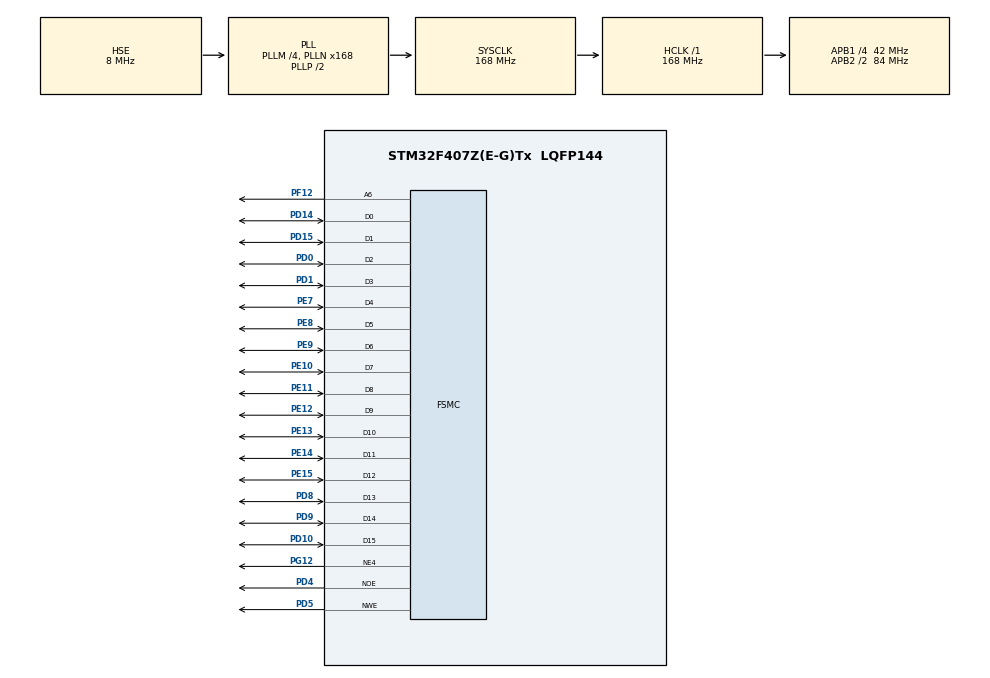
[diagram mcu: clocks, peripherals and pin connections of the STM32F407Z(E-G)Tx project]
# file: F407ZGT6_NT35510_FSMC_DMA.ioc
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Dma.MEMTOMEM.0.Direction=DMA_MEMORY_TO_MEMORY
Dma.MEMTOMEM.0.FIFOMode=DMA_FIFOMODE_ENABLE
Dma.MEMTOMEM.0.FIFOThreshold=DMA_FIFO_THRESHOLD_1QUARTERFULL
Dma.MEMTOMEM.0.Instance=DMA2_Stream0
Dma.MEMTOMEM.0.MemBurst=DMA_MBURST_SINGLE
Dma.MEMTOMEM.0.MemDataAlignment=DMA_MDATAALIGN_HALFWORD
Dma.MEMTOMEM.0.MemInc=DMA_MINC_DISABLE
Dma.MEMTOMEM.0.Mode=DMA_NORMAL
Dma.MEMTOMEM.0.PeriphBurst=DMA_PBURST_SINGLE
Dma.MEMTOMEM.0.PeriphDataAlignment=DMA_PDATAALIGN_HALFWORD
Dma.MEMTOMEM.0.PeriphInc=DMA_PINC_ENABLE
Dma.MEMTOMEM.0.Priority=DMA_PRIORITY_HIGH
Dma.Request0=MEMTOMEM
FSMC.AddressSetupTime1=10
FSMC.BusTurnAroundDuration1=0
FSMC.DataSetupTime1=60
FSMC.ExtendedMode1=FSMC_EXTENDED_MODE_DISABLE
Mcu.Family=STM32F4
Mcu.Name=STM32F407Z(E-G)Tx
Mcu.Package=LQFP144
NVIC.DMA2_Stream0_IRQn=true\:0\:0\:false\:false\:true\:true\:true\:true
NVIC.PriorityGroup=NVIC_PRIORITYGROUP_4
PC14-OSC32_IN.Mode=LSE-External-Oscillator
PC14-OSC32_IN.Signal=RCC_OSC32_IN
PC15-OSC32_OUT.Mode=LSE-External-Oscillator
PC15-OSC32_OUT.Signal=RCC_OSC32_OUT
PD0.GPIO_PuPd=GPIO_NOPULL
PD0.GPIO_Speed_High_Default=GPIO_SPEED_FREQ_HIGH
PD0.Signal=FSMC_D2_DA2
PD1.GPIO_PuPd=GPIO_NOPULL
PD1.GPIO_Speed_High_Default=GPIO_SPEED_FREQ_HIGH
PD1.Signal=FSMC_D3_DA3
PD10.GPIO_PuPd=GPIO_NOPULL
PD10.GPIO_Speed_High_Default=GPIO_SPEED_FREQ_HIGH
PD10.Signal=FSMC_D15_DA15
PD14.GPIO_PuPd=GPIO_NOPULL
PD14.GPIO_Speed_High_Default=GPIO_SPEED_FREQ_HIGH
PD14.Signal=FSMC_D0_DA0
PD15.GPIO_PuPd=GPIO_NOPULL
PD15.GPIO_Speed_High_Default=GPIO_SPEED_FREQ_HIGH
PD15.Signal=FSMC_D1_DA1
PD4.GPIO_PuPd=GPIO_NOPULL
PD4.GPIO_Speed_High_Default=GPIO_SPEED_FREQ_HIGH
PD4.Signal=FSMC_NOE
PD5.GPIO_PuPd=GPIO_NOPULL
PD5.GPIO_Speed_High_Default=GPIO_SPEED_FREQ_HIGH
PD5.Signal=FSMC_NWE
PD8.GPIO_PuPd=GPIO_NOPULL
PD8.GPIO_Speed_High_Default=GPIO_SPEED_FREQ_HIGH
PD8.Signal=FSMC_D13_DA13
PD9.GPIO_PuPd=GPIO_NOPULL
PD9.GPIO_Speed_High_Default=GPIO_SPEED_FREQ_HIGH
PD9.Signal=FSMC_D14_DA14
PE10.GPIO_PuPd=GPIO_NOPULL
PE10.GPIO_Speed_High_Default=GPIO_SPEED_FREQ_HIGH
PE10.Signal=FSMC_D7_DA7
PE11.GPIO_PuPd=GPIO_NOPULL
PE11.GPIO_Speed_High_Default=GPIO_SPEED_FREQ_HIGH
PE11.Signal=FSMC_D8_DA8
PE12.GPIO_PuPd=GPIO_NOPULL
PE12.GPIO_Speed_High_Default=GPIO_SPEED_FREQ_HIGH
PE12.Signal=FSMC_D9_DA9
PE13.GPIO_PuPd=GPIO_NOPULL
PE13.GPIO_Speed_High_Default=GPIO_SPEED_FREQ_HIGH
PE13.Signal=FSMC_D10_DA10
PE14.GPIO_PuPd=GPIO_NOPULL
PE14.GPIO_Speed_High_Default=GPIO_SPEED_FREQ_HIGH
PE14.Signal=FSMC_D11_DA11
PE15.GPIO_PuPd=GPIO_NOPULL
PE15.GPIO_Speed_High_Default=GPIO_SPEED_FREQ_HIGH
PE15.Signal=FSMC_D12_DA12
PE7.GPIO_PuPd=GPIO_NOPULL
PE7.GPIO_Speed_High_Default=GPIO_SPEED_FREQ_HIGH
PE7.Signal=FSMC_D4_DA4
PE8.GPIO_PuPd=GPIO_NOPULL
PE8.GPIO_Speed_High_Default=GPIO_SPEED_FREQ_HIGH
PE8.Signal=FSMC_D5_DA5
PE9.GPIO_PuPd=GPIO_NOPULL
PE9.GPIO_Speed_High_Default=GPIO_SPEED_FREQ_HIGH
PE9.Signal=FSMC_D6_DA6
PF12.GPIO_PuPd=GPIO_NOPULL
PF12.GPIO_Speed_High_Default=GPIO_SPEED_FREQ_HIGH
PF12.Signal=FSMC_A6
PG12.GPIO_PuPd=GPIO_NOPULL
PG12.GPIO_Speed_High_Default=GPIO_SPEED_FREQ_HIGH
PG12.Mode=NorPsramChipSelect4_1
PG12.Signal=FSMC_NE4
PH0-OSC_IN.Mode=HSE-External-Oscillator
PH0-OSC_IN.Signal=RCC_OSC_IN
PH1-OSC_OUT.Mode=HSE-External-Oscillator
PH1-OSC_OUT.Signal=RCC_OSC_OUT
ProjectManager.HeapSize=0x200
ProjectManager.StackSize=0x400
ProjectManager.TargetToolchain=STM32CubeIDE
RCC.48MHZClocksFreq_Value=48000000
RCC.AHBFreq_Value=168000000
RCC.APB1CLKDivider=RCC_HCLK_DIV4
RCC.APB1Freq_Value=42000000
RCC.APB1TimFreq_Value=84000000
RCC.APB2CLKDivider=RCC_HCLK_DIV2
RCC.APB2Freq_Value=84000000
RCC.APB2TimFreq_Value=168000000
RCC.CortexFreq_Value=168000000
RCC.HCLKFreq_Value=168000000
RCC.HSE_VALUE=8000000
RCC.HSI_VALUE=16000000
RCC.PLLM=4
RCC.PLLN=168
RCC.PLLQ=7
RCC.PLLSourceVirtual=RCC_PLLSOURCE_HSE
RCC.SYSCLKFreq_VALUE=168000000
RCC.SYSCLKSource=RCC_SYSCLKSOURCE_PLLCLK
RCC.VCOOutputFreq_Value=336000000
SH.FSMC_A6.0=FSMC_A6,A6_1
SH.FSMC_D0_DA0.0=FSMC_D0,16b-d1
SH.FSMC_D10_DA10.0=FSMC_D10,16b-d1
SH.FSMC_D11_DA11.0=FSMC_D11,16b-d1
SH.FSMC_D12_DA12.0=FSMC_D12,16b-d1
SH.FSMC_D13_DA13.0=FSMC_D13,16b-d1
SH.FSMC_D14_DA14.0=FSMC_D14,16b-d1
SH.FSMC_D15_DA15.0=FSMC_D15,16b-d1
SH.FSMC_D1_DA1.0=FSMC_D1,16b-d1
SH.FSMC_D2_DA2.0=FSMC_D2,16b-d1
SH.FSMC_D3_DA3.0=FSMC_D3,16b-d1
SH.FSMC_D4_DA4.0=FSMC_D4,16b-d1
SH.FSMC_D5_DA5.0=FSMC_D5,16b-d1
SH.FSMC_D6_DA6.0=FSMC_D6,16b-d1
SH.FSMC_D7_DA7.0=FSMC_D7,16b-d1
SH.FSMC_D8_DA8.0=FSMC_D8,16b-d1
SH.FSMC_D9_DA9.0=FSMC_D9,16b-d1
SH.FSMC_NOE.0=FSMC_NOE,Lcd1
SH.FSMC_NWE.0=FSMC_NWE,Lcd1
board=custom

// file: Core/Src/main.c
/* USER CODE BEGIN Header */
/**
  ******************************************************************************
  * @file           : main.c
  * @brief          : Main program body
  ******************************************************************************
  * @attention
  *
  * Copyright (c) 2024 STMicroelectronics.
  * All rights reserved.
  *
  * This software is licensed under terms that can be found in the LICENSE file
  * in the root directory of this software component.
  * If no LICENSE file comes with this software, it is provided AS-IS.
  *
  ******************************************************************************
  */
/* USER CODE END Header */
#include "main.h"

/* USER CODE BEGIN Includes */

#include "NT35510.h"
#include "slide1.h"
#include "slide2.h"
#include "slide3.h"

/* USER CODE END Includes */

/* USER CODE BEGIN PTD */

typedef struct Slide
{
	const DecompressionContext * dc;
	const uint8_t * data;
} Slide;

/* USER CODE END PTD */

/* USER CODE BEGIN PD */

#define SLIDES_COUNT		3
#define FRAMES_PER_BUFFER	SLIDE1_IMAGE_WIDTH * SLIDE1_SQUARE_SIDE
#define BUFFERS_PER_SLIDE	SLIDE1_IMAGE_HEIGHT / SLIDE1_SQUARE_SIDE

/* USER CODE END PD */

DMA_HandleTypeDef hdma_memtomem_dma2_stream0;
SRAM_HandleTypeDef hsram1;

/* USER CODE BEGIN PV */

static const Slide slides[3] = { { &slide1DC, slide1Data },
                                 { &slide2DC, slide2Data },
                                 { &slide3DC, slide3Data } };

/* USER CODE END PV */

void SystemClock_Config(void);
static void MX_GPIO_Init(void);
static void MX_DMA_Init(void);
static void MX_FSMC_Init(void);

int main(void)
{

  /* MCU Configuration--------------------------------------------------------*/

  /* Reset of all peripherals, Initializes the Flash interface and the Systick. */
  HAL_Init();

  /* Configure the system clock */
  SystemClock_Config();

  /* Initialize all configured peripherals */
  MX_GPIO_Init();
  MX_DMA_Init();
  MX_FSMC_Init();
  /* USER CODE BEGIN 2 */

/*
  // We have to set up FSMC and DMA linking.
  // You can do it here, but it would be more correct
  // to add this code to USER CODE BEGIN FSMC_Init 2.
  hsram1.hdma = &hdma_memtomem_dma2_stream0;
  hdma_memtomem_dma2_stream0.Parent = &hsram1;
*/

  // A little delay just in case.
  HAL_Delay(50);

  NT35510_init(); // Default screen orientation - Landscape

  // Set the width of our buffer for correct slides decompression
  decompressionBufferWidth = SLIDE1_IMAGE_WIDTH;
  NT35510_setWindow(0, 0, SLIDE1_IMAGE_WIDTH, SLIDE1_IMAGE_HEIGHT);

  /* USER CODE END 2 */

  /* Infinite loop */
  while (1)
  {

    /* USER CODE BEGIN 3 */

	  for (int i = 0; i < SLIDES_COUNT; i++) {
		  NT35510_begin();
		  resetDecompression();
		  for (int j = 0; j < BUFFERS_PER_SLIDE; j++) {
#if defined(NT35510_USE_BUFFERING)
			  uint16_t * currentScreenBuffer = NT35510_getPixelBuffer();
#else
			  uint16_t currentScreenBuffer[FRAMES_PER_BUFFER];
#endif
			  // Decompress one buffer
			  decompressNextFrames((DecompressionContext *)slides[i].dc, (uint8_t *)slides[i].data, currentScreenBuffer, FRAMES_PER_BUFFER, false);
		      // And display it
			  NT35510_writePixels(currentScreenBuffer, FRAMES_PER_BUFFER);
		  }
		  NT35510_end();
		  HAL_Delay(5000);
	  }
  }
  /* USER CODE END 3 */
}

void SystemClock_Config(void)
{
  RCC_OscInitTypeDef RCC_OscInitStruct = {0};
  RCC_ClkInitTypeDef RCC_ClkInitStruct = {0};

  /** Configure the main internal regulator output voltage
  */
  __HAL_RCC_PWR_CLK_ENABLE();
  __HAL_PWR_VOLTAGESCALING_CONFIG(PWR_REGULATOR_VOLTAGE_SCALE1);

  /** Initializes the RCC Oscillators according to the specified parameters
  * in the RCC_OscInitTypeDef structure.
  */
  RCC_OscInitStruct.OscillatorType = RCC_OSCILLATORTYPE_HSE;
  RCC_OscInitStruct.HSEState = RCC_HSE_ON;
  RCC_OscInitStruct.PLL.PLLState = RCC_PLL_ON;
  RCC_OscInitStruct.PLL.PLLSource = RCC_PLLSOURCE_HSE;
  RCC_OscInitStruct.PLL.PLLM = 4;
  RCC_OscInitStruct.PLL.PLLN = 168;
  RCC_OscInitStruct.PLL.PLLP = RCC_PLLP_DIV2;
  RCC_OscInitStruct.PLL.PLLQ = 7;
  if (HAL_RCC_OscConfig(&RCC_OscInitStruct) != HAL_OK)
  {
    Error_Handler();
  }

  /** Initializes the CPU, AHB and APB buses clocks
  */
  RCC_ClkInitStruct.ClockType = RCC_CLOCKTYPE_HCLK|RCC_CLOCKTYPE_SYSCLK
                              |RCC_CLOCKTYPE_PCLK1|RCC_CLOCKTYPE_PCLK2;
  RCC_ClkInitStruct.SYSCLKSource = RCC_SYSCLKSOURCE_PLLCLK;
  RCC_ClkInitStruct.AHBCLKDivider = RCC_SYSCLK_DIV1;
  RCC_ClkInitStruct.APB1CLKDivider = RCC_HCLK_DIV4;
  RCC_ClkInitStruct.APB2CLKDivider = RCC_HCLK_DIV2;

  if (HAL_RCC_ClockConfig(&RCC_ClkInitStruct, FLASH_LATENCY_5) != HAL_OK)
  {
    Error_Handler();
  }
}

static void MX_DMA_Init(void)
{

  /* DMA controller clock enable */
  __HAL_RCC_DMA2_CLK_ENABLE();

  /* Configure DMA request hdma_memtomem_dma2_stream0 on DMA2_Stream0 */
  hdma_memtomem_dma2_stream0.Instance = DMA2_Stream0;
  hdma_memtomem_dma2_stream0.Init.Channel = DMA_CHANNEL_0;
  hdma_memtomem_dma2_stream0.Init.Direction = DMA_MEMORY_TO_MEMORY;
  hdma_memtomem_dma2_stream0.Init.PeriphInc = DMA_PINC_ENABLE;
  hdma_memtomem_dma2_stream0.Init.MemInc = DMA_MINC_DISABLE;
  hdma_memtomem_dma2_stream0.Init.PeriphDataAlignment = DMA_PDATAALIGN_HALFWORD;
  hdma_memtomem_dma2_stream0.Init.MemDataAlignment = DMA_MDATAALIGN_HALFWORD;
  hdma_memtomem_dma2_stream0.Init.Mode = DMA_NORMAL;
  hdma_memtomem_dma2_stream0.Init.Priority = DMA_PRIORITY_HIGH;
  hdma_memtomem_dma2_stream0.Init.FIFOMode = DMA_FIFOMODE_ENABLE;
  hdma_memtomem_dma2_stream0.Init.FIFOThreshold = DMA_FIFO_THRESHOLD_1QUARTERFULL;
  hdma_memtomem_dma2_stream0.Init.MemBurst = DMA_MBURST_SINGLE;
  hdma_memtomem_dma2_stream0.Init.PeriphBurst = DMA_PBURST_SINGLE;
  if (HAL_DMA_Init(&hdma_memtomem_dma2_stream0) != HAL_OK)
  {
    Error_Handler( );
  }

  /* DMA interrupt init */
  /* DMA2_Stream0_IRQn interrupt configuration */
  HAL_NVIC_SetPriority(DMA2_Stream0_IRQn, 0, 0);
  HAL_NVIC_EnableIRQ(DMA2_Stream0_IRQn);

}

static void MX_GPIO_Init(void)
{
  GPIO_InitTypeDef GPIO_InitStruct = {0};

  /* GPIO Ports Clock Enable */
  __HAL_RCC_GPIOE_CLK_ENABLE();
  __HAL_RCC_GPIOC_CLK_ENABLE();
  __HAL_RCC_GPIOF_CLK_ENABLE();
  __HAL_RCC_GPIOH_CLK_ENABLE();
  __HAL_RCC_GPIOA_CLK_ENABLE();
  __HAL_RCC_GPIOB_CLK_ENABLE();
  __HAL_RCC_GPIOG_CLK_ENABLE();
  __HAL_RCC_GPIOD_CLK_ENABLE();

  /*Configure GPIO pins : PE2 PE3 PE4 PE5
                           PE6 PE0 PE1 */
  GPIO_InitStruct.Pin = GPIO_PIN_2|GPIO_PIN_3|GPIO_PIN_4|GPIO_PIN_5
                          |GPIO_PIN_6|GPIO_PIN_0|GPIO_PIN_1;
  GPIO_InitStruct.Mode = GPIO_MODE_ANALOG;
  GPIO_InitStruct.Pull = GPIO_NOPULL;
  HAL_GPIO_Init(GPIOE, &GPIO_InitStruct);

  /*Configure GPIO pins : PC13 PC0 PC1 PC2
                           PC3 PC4 PC5 PC6
                           PC7 PC8 PC9 PC10
                           PC11 PC12 */
  GPIO_InitStruct.Pin = GPIO_PIN_13|GPIO_PIN_0|GPIO_PIN_1|GPIO_PIN_2
                          |GPIO_PIN_3|GPIO_PIN_4|GPIO_PIN_5|GPIO_PIN_6
                          |GPIO_PIN_7|GPIO_PIN_8|GPIO_PIN_9|GPIO_PIN_10
                          |GPIO_PIN_11|GPIO_PIN_12;
  GPIO_InitStruct.Mode = GPIO_MODE_ANALOG;
  GPIO_InitStruct.Pull = GPIO_NOPULL;
  HAL_GPIO_Init(GPIOC, &GPIO_InitStruct);

  /*Configure GPIO pins : PF0 PF1 PF2 PF3
                           PF4 PF5 PF6 PF7
                           PF8 PF9 PF10 PF11
                           PF13 PF14 PF15 */
  GPIO_InitStruct.Pin = GPIO_PIN_0|GPIO_PIN_1|GPIO_PIN_2|GPIO_PIN_3
                          |GPIO_PIN_4|GPIO_PIN_5|GPIO_PIN_6|GPIO_PIN_7
                          |GPIO_PIN_8|GPIO_PIN_9|GPIO_PIN_10|GPIO_PIN_11
                          |GPIO_PIN_13|GPIO_PIN_14|GPIO_PIN_15;
  GPIO_InitStruct.Mode = GPIO_MODE_ANALOG;
  GPIO_InitStruct.Pull = GPIO_NOPULL;
  HAL_GPIO_Init(GPIOF, &GPIO_InitStruct);

  /*Configure GPIO pins : PA0 PA1 PA2 PA3
                           PA4 PA5 PA6 PA7
                           PA8 PA9 PA10 PA11
                           PA12 PA13 PA14 PA15 */
  GPIO_InitStruct.Pin = GPIO_PIN_0|GPIO_PIN_1|GPIO_PIN_2|GPIO_PIN_3
                          |GPIO_PIN_4|GPIO_PIN_5|GPIO_PIN_6|GPIO_PIN_7
                          |GPIO_PIN_8|GPIO_PIN_9|GPIO_PIN_10|GPIO_PIN_11
                          |GPIO_PIN_12|GPIO_PIN_13|GPIO_PIN_14|GPIO_PIN_15;
  GPIO_InitStruct.Mode = GPIO_MODE_ANALOG;
  GPIO_InitStruct.Pull = GPIO_NOPULL;
  HAL_GPIO_Init(GPIOA, &GPIO_InitStruct);

  /*Configure GPIO pins : PB0 PB1 PB2 PB10
                           PB11 PB12 PB13 PB14
                           PB15 PB3 PB4 PB5
                           PB6 PB7 PB8 PB9 */
  GPIO_InitStruct.Pin = GPIO_PIN_0|GPIO_PIN_1|GPIO_PIN_2|GPIO_PIN_10
                          |GPIO_PIN_11|GPIO_PIN_12|GPIO_PIN_13|GPIO_PIN_14
                          |GPIO_PIN_15|GPIO_PIN_3|GPIO_PIN_4|GPIO_PIN_5
                          |GPIO_PIN_6|GPIO_PIN_7|GPIO_PIN_8|GPIO_PIN_9;
  GPIO_InitStruct.Mode = GPIO_MODE_ANALOG;
  GPIO_InitStruct.Pull = GPIO_NOPULL;
  HAL_GPIO_Init(GPIOB, &GPIO_InitStruct);

  /*Configure GPIO pins : PG0 PG1 PG2 PG3
                           PG4 PG5 PG6 PG7
                           PG8 PG9 PG10 PG11
                           PG13 PG14 PG15 */
  GPIO_InitStruct.Pin = GPIO_PIN_0|GPIO_PIN_1|GPIO_PIN_2|GPIO_PIN_3
                          |GPIO_PIN_4|GPIO_PIN_5|GPIO_PIN_6|GPIO_PIN_7
                          |GPIO_PIN_8|GPIO_PIN_9|GPIO_PIN_10|GPIO_PIN_11
                          |GPIO_PIN_13|GPIO_PIN_14|GPIO_PIN_15;
  GPIO_InitStruct.Mode = GPIO_MODE_ANALOG;
  GPIO_InitStruct.Pull = GPIO_NOPULL;
  HAL_GPIO_Init(GPIOG, &GPIO_InitStruct);

  /*Configure GPIO pins : PD11 PD12 PD13 PD2
                           PD3 PD6 PD7 */
  GPIO_InitStruct.Pin = GPIO_PIN_11|GPIO_PIN_12|GPIO_PIN_13|GPIO_PIN_2
                          |GPIO_PIN_3|GPIO_PIN_6|GPIO_PIN_7;
  GPIO_InitStruct.Mode = GPIO_MODE_ANALOG;
  GPIO_InitStruct.Pull = GPIO_NOPULL;
  HAL_GPIO_Init(GPIOD, &GPIO_InitStruct);

}

/* FSMC initialization function */
static void MX_FSMC_Init(void)
{

  FSMC_NORSRAM_TimingTypeDef Timing = {0};

  /** Perform the SRAM1 memory initialization sequence
  */
  hsram1.Instance = FSMC_NORSRAM_DEVICE;
  hsram1.Extended = FSMC_NORSRAM_EXTENDED_DEVICE;
  /* hsram1.Init */
  hsram1.Init.NSBank = FSMC_NORSRAM_BANK4;
  hsram1.Init.DataAddressMux = FSMC_DATA_ADDRESS_MUX_DISABLE;
  hsram1.Init.MemoryType = FSMC_MEMORY_TYPE_SRAM;
  hsram1.Init.MemoryDataWidth = FSMC_NORSRAM_MEM_BUS_WIDTH_16;
  hsram1.Init.BurstAccessMode = FSMC_BURST_ACCESS_MODE_DISABLE;
  hsram1.Init.WaitSignalPolarity = FSMC_WAIT_SIGNAL_POLARITY_LOW;
  hsram1.Init.WrapMode = FSMC_WRAP_MODE_DISABLE;
  hsram1.Init.WaitSignalActive = FSMC_WAIT_TIMING_BEFORE_WS;
  hsram1.Init.WriteOperation = FSMC_WRITE_OPERATION_ENABLE;
  hsram1.Init.WaitSignal = FSMC_WAIT_SIGNAL_DISABLE;
  hsram1.Init.ExtendedMode = FSMC_EXTENDED_MODE_DISABLE;
  hsram1.Init.AsynchronousWait = FSMC_ASYNCHRONOUS_WAIT_DISABLE;
  hsram1.Init.WriteBurst = FSMC_WRITE_BURST_DISABLE;
  hsram1.Init.PageSize = FSMC_PAGE_SIZE_NONE;
  /* Timing */
  Timing.AddressSetupTime = 10;
  Timing.AddressHoldTime = 15;
  Timing.DataSetupTime = 60;
  Timing.BusTurnAroundDuration = 0;
  Timing.CLKDivision = 16;
  Timing.DataLatency = 17;
  Timing.AccessMode = FSMC_ACCESS_MODE_A;
  /* ExtTiming */

  if (HAL_SRAM_Init(&hsram1, &Timing, NULL) != HAL_OK)
  {
    Error_Handler( );
  }

  /* USER CODE BEGIN FSMC_Init 2 */

  hsram1.hdma = &hdma_memtomem_dma2_stream0;
  hdma_memtomem_dma2_stream0.Parent = &hsram1;

  /* USER CODE END FSMC_Init 2 */
}

void Error_Handler(void)
{
  __disable_irq();
  while (1)
  {
  }
}
